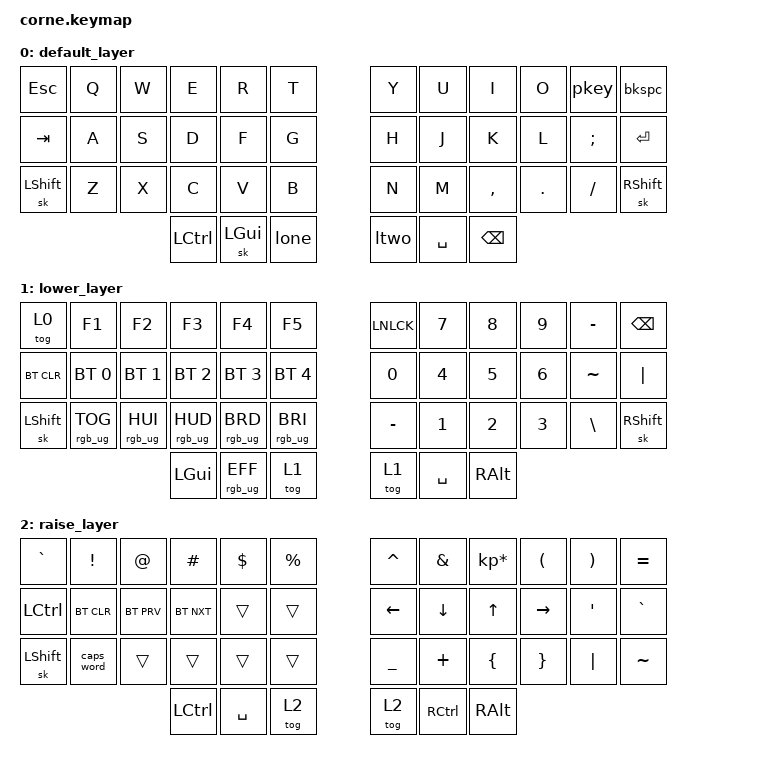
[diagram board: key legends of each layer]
/*
 * Copyright (c) 2020 The ZMK Contributors
 *
 * SPDX-License-Identifier: MIT
 */

#include <behaviors.dtsi>
#include <dt-bindings/zmk/keys.h>
#include <dt-bindings/zmk/bt.h>
#include <dt-bindings/zmk/bt.h>
#include <dt-bindings/led/led.h>
#include <dt-bindings/zmk/rgb.h>



/{
    behaviors
    {
        stickymt: stickymt{
            compatible = "zmk,behavior-hold-tap";
            label = "STICKYMT";
            #binding-cells = <2>;
            tapping-term-ms = <160>;
            quick-tap-ms = <0>;
            flavor = "hold-preferred";
            bindings = <&mo>, <&sl>;
        };
        pkey: pkey{
            compatible = "zmk,behavior-tap-dance";
            label = "PKEY";
            #binding-cells = <0>;
            tapping-term-ms = <160>;
            bindings = <&mt LBKT P>, <&mt LBRC MINUS>;
        };
         bkspc: bkspc{
            compatible = "zmk,behavior-tap-dance";
            label = "BKSPC";
            #binding-cells = <0>;
            tapping-term-ms = <160>;
            bindings = <&mt RBKT BKSP>, <&mt RBRC EQUAL>;
        };
        lone:lone{
            compatible = "zmk,behavior-tap-dance";
            label = "LONE";
            #binding-cells = <0>;
            tapping-term-ms = <160>;
            bindings = <&stickymt 1 1>, <&tog 1>;
        };
        ltwo:ltwo{
            compatible = "zmk,behavior-tap-dance";
            label = "LTWO";
            #binding-cells = <0>;
            tapping-term-ms = <160>;
            bindings = <&stickymt 2 2>, <&tog 2>;
        };
    };
 keymap {
                compatible = "zmk,keymap";
                default_layer {
// -----------------------------------------------------------------------------------------
// |  TAB |  Q  |  W  |  E  |  R  |  T  |   |  Y  |  U   |  I  |  O  |  P  | BKSP |
// | CTRL |  A  |  S  |  D  |  F  |  G  |   |  H  |  J   |  K  |  L  |  ;  |  '   |
// | SHFT |  Z  |  X  |  C  |  V  |  B  |   |  N  |  M   |  ,  |  .  |  /  | ESC  |
//                    | LCTRL | LGUI | M02 |   | M01 | SPC  | BKSP |
                        bindings = <
   &kp ESC   &kp Q &kp W &kp E &kp R &kp T   &kp Y &kp U  &kp I     &kp O   &pkey    &bkspc
   &kp TAB &kp A &kp S &kp D &kp F &kp G   &kp H &kp J  &kp K     &kp L   &kp SEMI &kp RET  
   &sk LSHFT &kp Z &kp X &kp C &kp V &kp B   &kp N &kp M  &kp COMMA &kp DOT &kp FSLH &sk RSHFT
                  &kp LCTRL &sk LGUI &lone &ltwo &kp SPACE &kp BSPC
                        >;
                };
                lower_layer {
// -----------------------------------------------------------------------------------------
// |  TAB |  1  |  2  |  3  |  4  |  5  |   |  6  |  7  |  8  |  9  |  0  | BKSP |
// | BTCLR| BT1 | BT2 | BT3 | BT4 | BT5 |   | LFT | DWN |  UP | RGT |     |      |
// | SHFT |     |     |     |     |     |   |     |     |     |     |     |      |
//                    | GUI |     | SPC |   | ENT |     | ALT |
                        bindings = <
   &tog 0  &kp F1       &kp F2       &kp F3       &kp F4       &kp F5         &kp LNLCK &kp N7   &kp N8 &kp N9    &kp MINUS &kp BSPC
   &bt BT_CLR &bt BT_SEL 0 &bt BT_SEL 1 &bt BT_SEL 2 &bt BT_SEL 3 &bt BT_SEL 4   &kp N0 &kp N4 &kp N5 &kp N6 &kp TILDE  &kp PIPE
   &sk LSHFT  &rgb_ug RGB_TOG   &rgb_ug RGB_HUI   &rgb_ug RGB_HUD &rgb_ug RGB_BRD &rgb_ug RGB_BRI  &kp MINUS   &kp N1   &kp N2 &kp N3    &kp  BSLH &sk RSHFT         
                          	        &kp LGUI     &rgb_ug RGB_EFF    &tog 1 &tog 1 &kp SPACE &kp RALT
                        >;
                };

                raise_layer {
// -----------------------------------------------------------------------------------------
// |  TAB |  !  |  @  |  #  |  $  |  %  |   |  ^  |  &  |  *  |  (  |  )  | BKSP |
// | CTRL |     |     |     |     |     |   |  -  |  =  |  [  |  ]  |  \  |  `   |
// | SHFT |     |     |     |     |     |   |  _  |  +  |  {  |  }  | "|" |  ~   |
//                    | GUI |     | SPC |   | ENT |     | ALT |
                        bindings = <
   &kp GRAVE &kp EXCL &kp AT &kp HASH &kp DLLR &kp PRCNT   &kp CARET &kp AMPS  &kp KP_MULTIPLY &kp LPAR &kp RPAR &kp EQUAL              
   &kp LCTRL &bt BT_CLR &bt BT_PRV &bt BT_NXT   &trans   &trans      &kp LEFT &kp DOWN &kp UP        &kp RIGHT &kp SQT &kp GRAVE
   &sk LSHFT &caps_word   &trans &trans   &trans   &trans      &kp UNDER &kp PLUS  &kp LBRC        &kp RBRC &kp PIPE &kp TILDE
                    	     &kp LCTRL &kp SPACE &tog 2 &tog 2 &kp RCTRL    &kp RALT
                        >;
                };
        };
   
};

